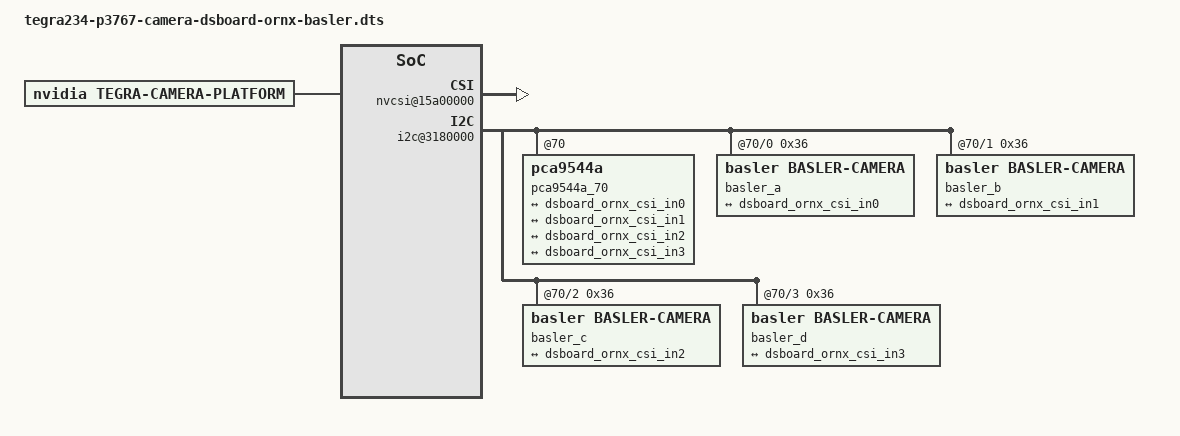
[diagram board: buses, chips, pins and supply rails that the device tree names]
// SPDX-License-Identifier: GPL-2.0-only
// SPDX-FileCopyrightText: Copyright (c) 2023-2024, NVIDIA CORPORATION & AFFILIATES. All rights reserved.

/dts-v1/;
/plugin/;

#include <dt-bindings/tegra234-p3767-0000-common.h>
#include <dt-bindings/clock/tegra234-clock.h>
#include <dt-bindings/gpio/tegra234-gpio.h>

#define CAMERA_I2C_MUX_BUS(x) (0x1E + x)

/ {
	overlay-name = "DSBOARD-ORNX Basler 4*2-lane";
	jetson-header-name = "Jetson 24pin CSI Connector";
	compatible = JETSON_COMPATIBLE_P3768;

	fragment-camera@0 {
		target-path = "/";
		__overlay__ {

	tegra-capture-vi  {
		num-channels = <4>;
		ports {
			#address-cells = <1>;
			#size-cells = <0>;
			port@0 {
				status = "okay";
				reg = <0>;
				dsboard_ornx_vi_in0: endpoint {
					status = "okay";
					port-index = <0>;
					bus-width = <2>;
					remote-endpoint = <&dsboard_ornx_csi_out0>;
				};
			};
			port@1 {
				status = "okay";
				reg = <1>;
				dsboard_ornx_vi_in1: endpoint {
					status = "okay";
					port-index = <1>;
					bus-width = <2>;
					remote-endpoint = <&dsboard_ornx_csi_out1>;
				};
			};
			port@2 {
				status = "okay";
				reg = <2>;
				dsboard_ornx_vi_in2: endpoint {
					status = "okay";
					port-index = <2>;
					bus-width = <2>;
					remote-endpoint = <&dsboard_ornx_csi_out2>;
				};
			};
			port@3 {
				status = "okay";
				reg = <3>;
				dsboard_ornx_vi_in3: endpoint {
					status = "okay";
					port-index = <3>;
					bus-width = <2>;
					remote-endpoint = <&dsboard_ornx_csi_out3>;
				};
			};
		};
	};

	bus@0 {
		host1x@13e00000 {
			nvcsi@15a00000 {
				num-channels = <4>;
				#address-cells = <1>;
				#size-cells = <0>;
				status = "okay";
				channel@0 {
					status = "okay";
					reg = <0>;
					ports {
						#address-cells = <1>;
						#size-cells = <0>;
						port@0 {
							status = "okay";
							reg = <0>;
							dsboard_ornx_csi_in0: endpoint@0 {
								status = "okay";
								port-index = <0>;
								bus-width = <2>;
								remote-endpoint = <&dsboard_ornx_basler_out0>;
							};
						};
						port@1 {
							status = "okay";
							reg = <1>;
							dsboard_ornx_csi_out0: endpoint@1 {
								status = "okay";
								remote-endpoint = <&dsboard_ornx_vi_in0>;
							};
						};
					};
				};
				channel@1 {
					status = "okay";
					reg = <1>;
					ports {
						#address-cells = <1>;
						#size-cells = <0>;
						port@0 {
							status = "okay";
							reg = <0>;
							dsboard_ornx_csi_in1: endpoint@2 {
								status = "okay";
								port-index = <1>;
								bus-width = <2>;
								remote-endpoint = <&dsboard_ornx_basler_out1>;
							};
						};
						port@1 {
							status = "okay";
							reg = <1>;
							dsboard_ornx_csi_out1: endpoint@3 {
								status = "okay";
								remote-endpoint = <&dsboard_ornx_vi_in1>;
							};
						};
					};
				};
				channel@2 {
					status = "okay";
					reg = <2>;
					ports {
						#address-cells = <1>;
						#size-cells = <0>;
						port@0 {
							status = "okay";
							reg = <0>;
							dsboard_ornx_csi_in2: endpoint@4 {
								status = "okay";
								port-index = <2>;
								bus-width = <2>;
								remote-endpoint = <&dsboard_ornx_basler_out2>;
							};
						};
						port@1 {
							status = "okay";
							reg = <1>;
							dsboard_ornx_csi_out2: endpoint@5 {
								status = "okay";
								remote-endpoint = <&dsboard_ornx_vi_in2>;
							};
						};
					};
				};
				channel@3 {
					status = "okay";
					reg = <3>;
					ports {
						#address-cells = <1>;
						#size-cells = <0>;
						port@0 {
							status = "okay";
							reg = <0>;
							dsboard_ornx_csi_in3: endpoint@6 {
								status = "okay";
								port-index = <3>;
								bus-width = <2>;
								remote-endpoint = <&dsboard_ornx_basler_out3>;
							};
						};
						port@1 {
							status = "okay";
							reg = <1>;
							dsboard_ornx_csi_out3: endpoint@7 {
								status = "okay";
								remote-endpoint = <&dsboard_ornx_vi_in3>;
							};
						};
					};
				};
			};
		};

		i2c@3180000 {
			pca9544a_70: pca9544a@70 {
				status = "okay";
				force_bus_start = <CAMERA_I2C_MUX_BUS(0)>;

				i2c@0 {
					reg = <0>;
					i2c-mux,deselect-on-exit;
					#address-cells = <1>;
					#size-cells = <0>;

					basler_a@36 {
						status = "okay";

						compatible = "basler,basler-camera";
						/* I2C device address */
						reg = <0x36>;

						/* V4L2 device node location */
						// devnode is deprecated
						//devnode = "video0";

						/* Physical dimensions of sensor */
						physical_w = "3.680";
						physical_h = "2.760";

						sensor_model = "basler-mcm";

						mode0 {
							tegra_sinterface = "serial_a";
							lane_polarity = "6";
						};

						ports {
							#address-cells = <1>;
							#size-cells = <0>;

							port@0 {
								status = "okay";
								reg = <0>;
								dsboard_ornx_basler_out0: endpoint {
									status = "okay";
									port-index = <0>;
									bus-width = <2>;
									remote-endpoint = <&dsboard_ornx_csi_in0>;
									data-lanes = <1 2>;
									clock-lanes = <0>;
									link-frequencies = /bits/ 64 <600000000>;
								};
							};
						};
					};
				};

				i2c@1 {
					reg = <1>;
					i2c-mux,deselect-on-exit;
					#address-cells = <1>;
					#size-cells = <0>;

					basler_b@36 {
						status = "okay";

						compatible = "basler,basler-camera";
						/* I2C device address */
						reg = <0x36>;

						/* V4L2 device node location */
						// devnode is deprecated
						//devnode = "video1";

						/* Physical dimensions of sensor */
						physical_w = "3.680";
						physical_h = "2.760";

						sensor_model = "basler-mcm";

						mode0 {
							tegra_sinterface = "serial_b";
							lane_polarity = "6";
						};

						ports {
							#address-cells = <1>;
							#size-cells = <0>;

							port@0 {
								reg = <0>;
								dsboard_ornx_basler_out1: endpoint {
									port-index = <1>;
									bus-width = <2>;
									remote-endpoint = <&dsboard_ornx_csi_in1>;
									data-lanes = <1 2>;
									clock-lanes = <0>;
									link-frequencies = /bits/ 64 <600000000>;
								};
							};
						};
					};
				};

				i2c@2 {
					reg = <2>;
					i2c-mux,deselect-on-exit;
					#address-cells = <1>;
					#size-cells = <0>;

					basler_c@36 {
						status = "okay";

						compatible = "basler,basler-camera";
						/* I2C device address */
						reg = <0x36>;

						/* V4L2 device node location */
						// devnode is deprecated
						//devnode = "video2";

						/* Physical dimensions of sensor */
						physical_w = "3.680";
						physical_h = "2.760";

						sensor_model = "basler-mcm";

						mode0 {
							tegra_sinterface = "serial_c";
							lane_polarity = "0";
						};

						ports {
							#address-cells = <1>;
							#size-cells = <0>;

							port@0 {
								reg = <0>;
								dsboard_ornx_basler_out2: endpoint {
									port-index = <2>;
									bus-width = <2>;
									remote-endpoint = <&dsboard_ornx_csi_in2>;
									data-lanes = <1 2>;
									clock-lanes = <0>;
									link-frequencies = /bits/ 64 <600000000>;
								};
							};
						};
					};
				};

				i2c@3 {
					reg = <3>;
					i2c-mux,deselect-on-exit;
					#address-cells = <1>;
					#size-cells = <0>;

					basler_d@36 {
						status = "okay";

						compatible = "basler,basler-camera";
						/* I2C device address */
						reg = <0x36>;

						/* V4L2 device node location */
						// devnode is deprecated
						//devnode = "video3";

						/* Physical dimensions of sensor */
						physical_w = "3.680";
						physical_h = "2.760";

						sensor_model = "basler-mcm";

						mode0 {
							tegra_sinterface = "serial_d";
							lane_polarity = "0";
						};

						ports {
							#address-cells = <1>;
							#size-cells = <0>;

							port@0 {
								reg = <0>;
								dsboard_ornx_basler_out3: endpoint {
									port-index = <3>;
									bus-width = <2>;
									remote-endpoint = <&dsboard_ornx_csi_in3>;
									data-lanes = <1 2>;
									clock-lanes = <0>;
									link-frequencies = /bits/ 64 <600000000>;
								};
							};
						};
					};
				};
			};
		};
	};

	tegra-camera-platform {
		compatible = "nvidia, tegra-camera-platform";
		/**
		* Physical settings to calculate max ISO BW
		*
		* num_csi_lanes = <>;
		* Total number of CSI lanes when all cameras are active
		*
		* max_lane_speed = <>;
		* Max lane speed in Kbit/s
		*
		* min_bits_per_pixel = <>;
		* Min bits per pixel
		*
		* vi_peak_byte_per_pixel = <>;
		* Max byte per pixel for the VI ISO case
		*
		* vi_bw_margin_pct = <>;
		* Vi bandwidth margin in percentage
		*
		* max_pixel_rate = <>;
		* Max pixel rate in Kpixel/s for the ISP ISO case
		*
		* isp_peak_byte_per_pixel = <>;
		* Max byte per pixel for the ISP ISO case
		*
		* isp_bw_margin_pct = <>;
		* Isp bandwidth margin in percentage
		*/
		num_csi_lanes = <8>;
		max_lane_speed = <1500000>;
		min_bits_per_pixel = <10>;
		vi_peak_byte_per_pixel = <2>;
		vi_bw_margin_pct = <25>;
		max_pixel_rate = <240000>;
		isp_peak_byte_per_pixel = <5>;
		isp_bw_margin_pct = <25>;

		/**
		 * The general guideline for naming badge_info contains 3 parts, and is as follows,
		 * The first part is the camera_board_id for the module; if the module is in a FFD
		 * platform, then use the platform name for this part.
		 * The second part contains the position of the module, ex. "rear" or "front".
		 * The third part contains the last 6 characters of a part number which is found
		 * in the module's specsheet from the vendor.
		 */
		modules {
			module0 {
				status = "okay";
				badge = "dsboard_ornx_bottomleft";
				position = "bottomleft";
				orientation = "1";
				drivernode0 {
					status = "okay";
					pcl_id = "v4l2_sensor";
					sysfs-device-tree = "/sys/firmware/devicetree/base/bus@0/i2c@3180000/pca9544a@70/i2c@0/basler_a@36";
				};
			};
			module1 {
				status = "okay";
				badge = "dsboard_ornx_centerleft";
				position = "centerleft";
				orientation = "1";
				drivernode0 {
					status = "okay";
					pcl_id = "v4l2_sensor";
					sysfs-device-tree = "/sys/firmware/devicetree/base/bus@0/i2c@3180000/pca9544a@70/i2c@1/basler_b@36";
				};
			};
			module2 {
				status = "okay";
				badge = "dsboard_ornx_centerright";
				position = "centerright";
				orientation = "1";
				drivernode0 {
					status = "okay";
					pcl_id = "v4l2_sensor";
					sysfs-device-tree = "/sys/firmware/devicetree/base/bus@0/i2c@3180000/pca9544a@70/i2c@2/basler_c@36";
				};
			};
			module3 {
				status = "okay";
				badge = "dsboard_ornx_topleft";
				position = "topleft";
				orientation = "1";
				drivernode0 {
					status = "okay";
					pcl_id = "v4l2_sensor";
					sysfs-device-tree = "/sys/firmware/devicetree/base/bus@0/i2c@3180000/pca9544a@70/i2c@3/basler_d@36";
				};
			};
		};
	};

		}; //__overlay__ ends
	}; //fragment-camera@0 ends
};
